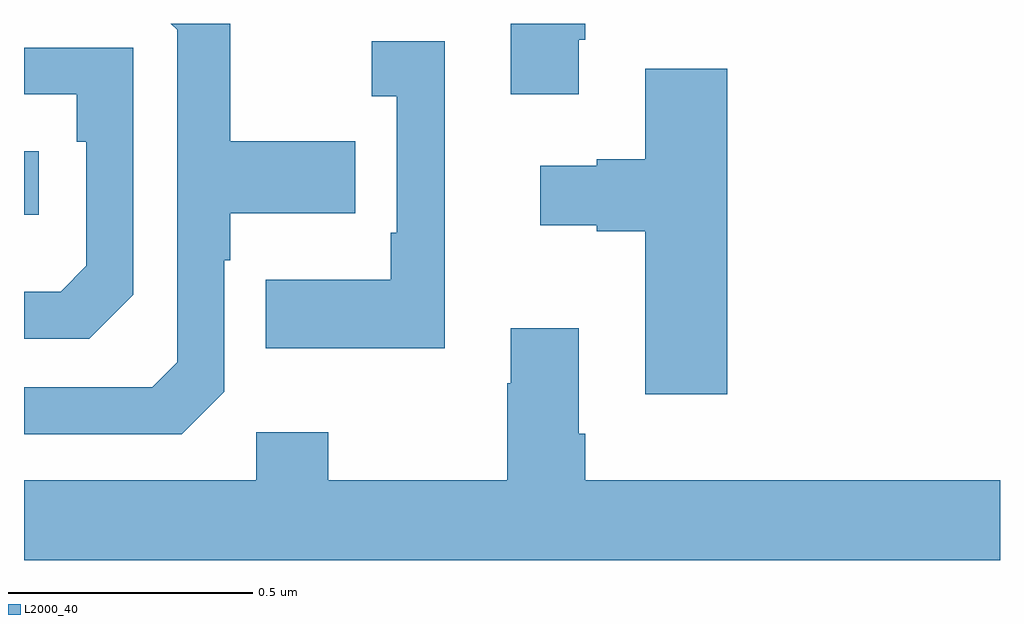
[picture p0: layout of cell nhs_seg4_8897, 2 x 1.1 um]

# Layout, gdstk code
import gdstk
lib = gdstk.Library(unit=1e-6, precision=1e-09)
def R(c, l, rs):  # rectangles x0, y0, x1, y1
    for r in rs: c.add(gdstk.rectangle(r[:2], r[2:], *l))
def P(c, l, *ps):  # polygons
    for p in ps: c.add(gdstk.Polygon(p, *l))
L2000_40 = (2000, 40)

nhs_seg4_8897 = lib.new_cell('nhs_seg4_8897')
R(nhs_seg4_8897, L2000_40, [(220,817.508,220.03,817.638)])
P(nhs_seg4_8897, L2000_40, [(221.137,817.867),(221.15,817.867),(221.15,817.9),(220.997,817.9),(220.997,817.755),(221.137,817.755)],
  [(220.41,817.146),(220.41,817.415),(220.423,817.415),(220.423,817.511),(220.679,817.511),(220.679,817.659),(220.423,817.659),(220.423,817.9),(220.301,817.9),(220.314,817.887),(220.314,817.206),(220.263,817.155),(220,817.155),(220,817.059),(220.323,817.059)],
  [(220.862,817.864),(220.713,817.864),(220.713,817.751),(220.764,817.751),(220.764,817.471),(220.752,817.471),(220.752,817.375),(220.495,817.375),(220.495,817.235),(220.862,817.235)],
  [(220.224,817.344),(220.224,817.851),(220,817.851),(220,817.755),(220.108,817.755),(220.108,817.658),(220.128,817.658),(220.128,817.404),(220.075,817.351),(220,817.351),(220,817.254),(220.134,817.254)],
  [(221.441,817.807),(221.273,817.807),(221.273,817.622),(221.174,817.622),(221.174,817.609),(221.058,817.609),(221.058,817.487),(221.174,817.487),(221.174,817.475),(221.273,817.475),(221.273,817.14),(221.441,817.14)],
  [(222,816.964),(221.15,816.964),(221.15,817.06),(221.137,817.06),(221.137,817.276),(220.997,817.276),(220.997,817.163),(220.99,817.163),(220.99,816.964),(220.623,816.964),(220.623,817.063),(220.476,817.063),(220.476,816.964),(220,816.964),(220,816.8),(222,816.8)])

lib.write_gds('nhs_seg4_8897.gds')
